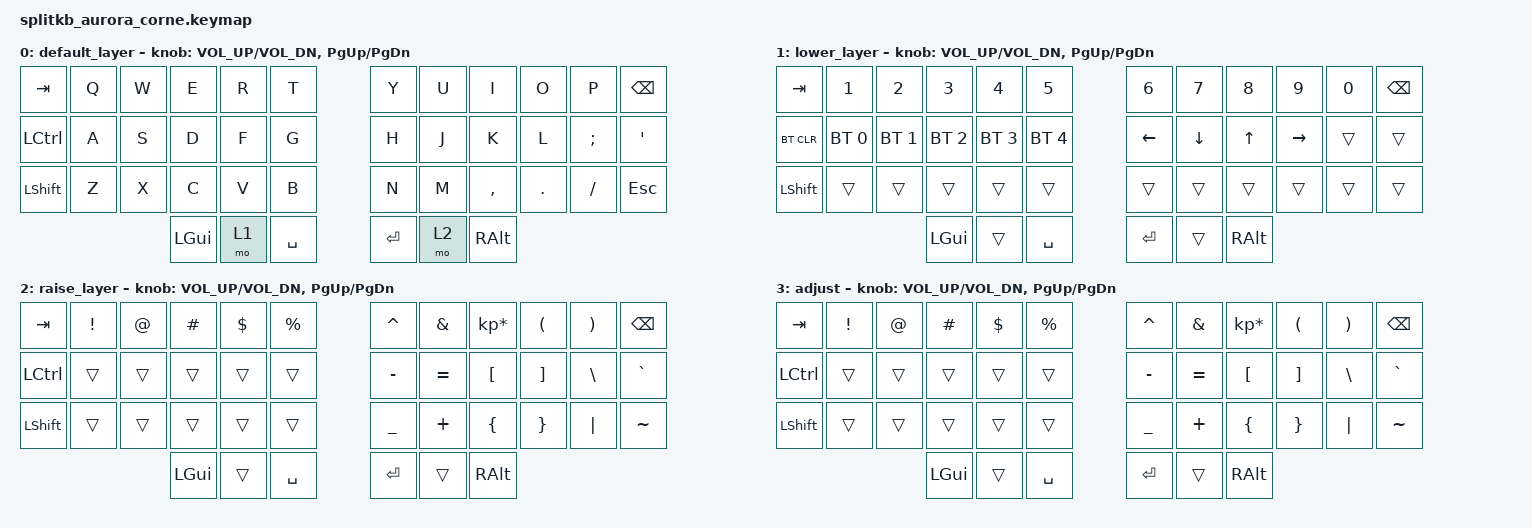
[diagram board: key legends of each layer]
/*
 * Copyright (c) 2020 The ZMK Contributors
 *
 * SPDX-License-Identifier: MIT
 */

#include <behaviors.dtsi>
#include <dt-bindings/zmk/keys.h>
#include <dt-bindings/zmk/bt.h>

/ {
        keymap {
                compatible = "zmk,keymap";

                default_layer {
// -----------------------------------------------------------------------------------------
// |  TAB |  Q  |  W  |  E  |  R  |  T  |   |  Y  |  U   |  I  |  O  |  P  | BKSP |
// | CTRL |  A  |  S  |  D  |  F  |  G  |   |  H  |  J   |  K  |  L  |  ;  |  '   |
// | SHFT |  Z  |  X  |  C  |  V  |  B  |   |  N  |  M   |  ,  |  .  |  /  | ESC  |
//                    | GUI | LWR | SPC |   | ENT | RSE  | ALT |
                        bindings = <
   &kp TAB   &kp Q &kp W &kp E &kp R &kp T   &kp Y &kp U  &kp I     &kp O   &kp P    &kp BSPC
   &kp LCTRL &kp A &kp S &kp D &kp F &kp G   &kp H &kp J  &kp K     &kp L   &kp SEMI &kp SQT
   &kp LSHFT &kp Z &kp X &kp C &kp V &kp B   &kp N &kp M  &kp COMMA &kp DOT &kp FSLH &kp ESC
                  &kp LGUI &mo 1 &kp SPACE   &kp RET &mo 2 &kp RALT
                        >;
                        sensor-bindings = <&inc_dec_kp C_VOL_UP C_VOL_DN &inc_dec_kp PG_UP PG_DN>;
                };
                lower_layer {
// -----------------------------------------------------------------------------------------
// |  TAB |  1  |  2  |  3  |  4  |  5  |   |  6  |  7  |  8  |  9  |  0  | BKSP |
// | BTCLR| BT1 | BT2 | BT3 | BT4 | BT5 |   | LFT | DWN |  UP | RGT |     |      |
// | SHFT |     |     |     |     |     |   |     |     |     |     |     |      |
//                    | GUI |     | SPC |   | ENT |     | ALT |
                        bindings = <
   &kp TAB    &kp N1       &kp N2       &kp N3       &kp N4       &kp N5         &kp N6   &kp N7   &kp N8 &kp N9    &kp N0 &kp BSPC
   &bt BT_CLR &bt BT_SEL 0 &bt BT_SEL 1 &bt BT_SEL 2 &bt BT_SEL 3 &bt BT_SEL 4   &kp LEFT &kp DOWN &kp UP &kp RIGHT &trans &trans
   &kp LSHFT  &trans       &trans       &trans       &trans       &trans         &trans   &trans   &trans &trans    &trans &trans
                          	        &kp LGUI     &trans       &kp SPACE      &kp RET  &trans   &kp RALT
                        >;
                        sensor-bindings = <&inc_dec_kp C_VOL_UP C_VOL_DN &inc_dec_kp PG_UP PG_DN>;
                };

                raise_layer {
// -----------------------------------------------------------------------------------------
// |  TAB |  !  |  @  |  #  |  $  |  %  |   |  ^  |  &  |  *  |  (  |  )  | BKSP |
// | CTRL |     |     |     |     |     |   |  -  |  =  |  [  |  ]  |  \  |  `   |
// | SHFT |     |     |     |     |     |   |  _  |  +  |  {  |  }  | "|" |  ~   |
//                    | GUI |     | SPC |   | ENT |     | ALT |
                        bindings = <
   &kp  TAB  &kp EXCL &kp AT &kp HASH &kp DLLR &kp PRCNT   &kp CARET &kp AMPS  &kp KP_MULTIPLY &kp LPAR &kp RPAR &kp BSPC
   &kp LCTRL &trans   &trans &trans   &trans   &trans      &kp MINUS &kp EQUAL &kp LBKT        &kp RBKT &kp BSLH &kp GRAVE
   &kp LSHFT &trans   &trans &trans   &trans   &trans      &kp UNDER &kp PLUS  &kp LBRC        &kp RBRC &kp PIPE &kp TILDE
                    	     &kp LGUI &trans   &kp SPACE   &kp RET   &trans    &kp RALT
                        >;
                        sensor-bindings = <&inc_dec_kp C_VOL_UP C_VOL_DN &inc_dec_kp PG_UP PG_DN>;
                };

                adjust {
// -----------------------------------------------------------------------------------------
// |  TAB |  !  |  @  |  #  |  $  |  %  |   |  ^  |  &  |  *  |  (  |  )  | BKSP |
// | CTRL |     |     |     |     |     |   |  -  |  =  |  [  |  ]  |  \  |  `   |
// | SHFT |     |     |     |     |     |   |  _  |  +  |  {  |  }  | "|" |  ~   |
//                    | GUI |     | SPC |   | ENT |     | ALT |
                        bindings = <
   &kp  TAB  &kp EXCL &kp AT &kp HASH &kp DLLR &kp PRCNT   &kp CARET &kp AMPS  &kp KP_MULTIPLY &kp LPAR &kp RPAR &kp BSPC
   &kp LCTRL &trans   &trans &trans   &trans   &trans      &kp MINUS &kp EQUAL &kp LBKT        &kp RBKT &kp BSLH &kp GRAVE
   &kp LSHFT &trans   &trans &trans   &trans   &trans      &kp UNDER &kp PLUS  &kp LBRC        &kp RBRC &kp PIPE &kp TILDE
                    	     &kp LGUI &trans   &kp SPACE   &kp RET   &trans    &kp RALT
                        >;
                        sensor-bindings = <&inc_dec_kp C_VOL_UP C_VOL_DN &inc_dec_kp PG_UP PG_DN>;
                };
        };
        
};

/ {
    conditional_layers {
        compatible = "zmk,conditional-layers";
        tri_layer {
            if-layers = <1 2>;
            then-layer = <3>;
        };
    };
};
